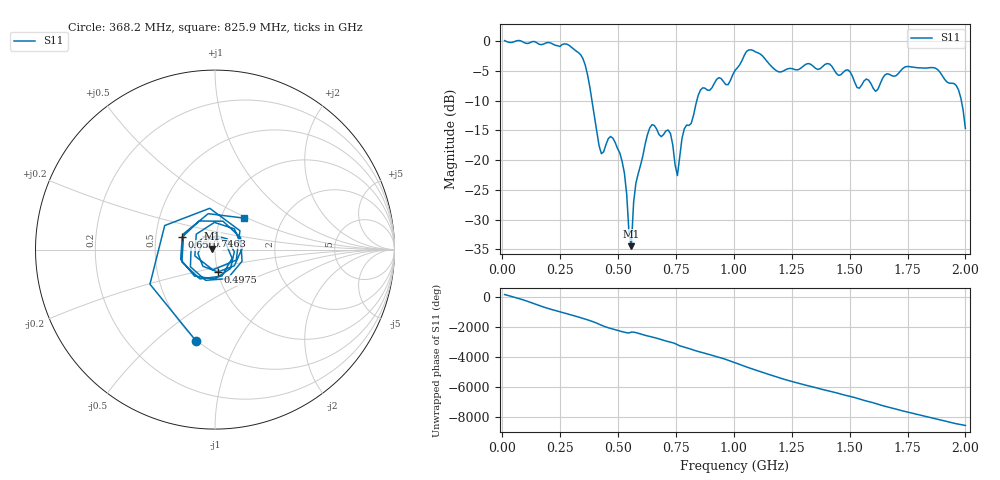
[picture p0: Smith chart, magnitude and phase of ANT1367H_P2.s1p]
!Created with skrf (http://scikit-rf.org).
# Hz S RI R 50.0
!freq ReS11 ImS11
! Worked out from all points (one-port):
!   201 points, 10 MHz to 2 GHz, reference 50 ohm
!   lowest |S11| = -34.5 dB at 557.2 MHz (marker M1), VSWR 1.04, Z = 48.2 + j0.49 ohm
!   |S11| at or under -10 dB: 387.5 MHz to 840.1 MHz (452.7 MHz wide, 73.7 % of centre); 1.982 GHz to end of sweep
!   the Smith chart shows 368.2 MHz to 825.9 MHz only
!   S11 on the Smith chart (normalised r, x): 368.2 MHz: 0.49, -0.69; 497.6 MHz: 1.00, -0.25; 656.8 MHz: 0.69, +0.10; 746.3 MHz: 0.90, +0.14; 825.9 MHz: 1.28, +0.48
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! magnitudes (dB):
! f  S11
! 10 MHz  0.1
! 258.8 MHz  -0.5
! 338.4 MHz  -2.3
! 368.2 MHz  -5.6
! 427.9 MHz  -18.9
! 467.7 MHz  -16.0
! 497.6 MHz  -18.0
! 507.5 MHz  -18.8
! 527.4 MHz  -22.2
! 557.2 MHz  -34.5
! 567.2 MHz  -27.1
! 577.1 MHz  -23.9
! 626.9 MHz  -15.7
! 656.8 MHz  -14.2
! 726.4 MHz  -15.5
! 746.3 MHz  -20.8
! 756.2 MHz  -22.6
! 786.1 MHz  -14.7
! 825.9 MHz  -12.5
! 855.8 MHz  -8.2
! 1.005 GHz  -4.9
! 1.075 GHz  -1.4
! 1.254 GHz  -4.6
! 1.502 GHz  -5.2
! 1.612 GHz  -8.4
! 1.751 GHz  -4.2
! 1.96 GHz  -7.4
! 2 GHz  -14.7
